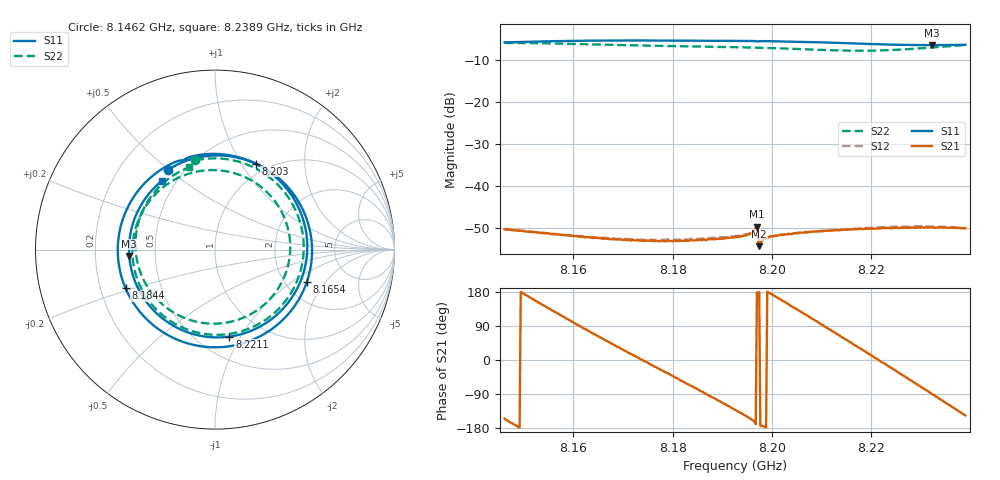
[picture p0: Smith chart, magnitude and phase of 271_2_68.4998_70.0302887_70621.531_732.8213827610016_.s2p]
#  HZ  S  RI  R  50.00
! Rohde & Schwarz Vector Network Analyzer
! Rohde-Schwarz,ZNB20-2Port,1311601062101988,3.16
! Created: UTC 3/20/2024, 5:00:45 PM
! freq[Hz]  re:S11  im:S11  re:S21  im:S21  re:S12  im:S12  re:S22  im:S22
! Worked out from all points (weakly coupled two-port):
!   401 points, 8.1462 GHz to 8.2389 GHz, reference 50 ohm
!   highest |S21| = -49.55 dB at 8.1969 GHz (marker M1); lowest = -54.2 dB at 8.1974 GHz (marker M2)
!   lowest |S11| = -6.4 dB at 8.2322 GHz (marker M3), VSWR 2.84, Z = 17.6 - j1.6 ohm
!   |S11| at or under -10 dB: nowhere
!   |S22| runs from -7.7 to -5.9 dB; largest |S21 - S12| = 0.00025
!   S11 on the Smith chart (normalised r, x): 8.1462 GHz: 0.41, +0.50; 8.1654 GHz: 2.60, -1.33; 8.1844 GHz: 0.31, -0.19; 8.203 GHz: 0.87, +1.16; 8.2211 GHz: 0.70, -0.90; 8.2389 GHz: 0.42, +0.42
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8.146162e9  -0.2616 0.4455  -0.00279 -0.00132  -0.00286 -0.00119  -0.1093 0.4971
8.149872e9  -0.0232 0.5233  -0.00296 0.000217  -0.00292 0.000279  0.1291 0.4907
8.15335e9  0.2073 0.4876  -0.00242 0.00143  -0.00245 0.00147  0.3226 0.3872
8.157523e9  0.429 0.3208  -0.00122 0.00237  -0.00119 0.00235  0.4669 0.1747
8.161697e9  0.5361 0.0654  0.000165 0.00252  0.000176 0.00256  0.4865 -0.0758
8.165407e9  0.5116 -0.1807  0.00122 0.00209  0.00121 0.00211  0.3997 -0.2775
8.171667e9  0.2381 -0.4896  0.00219 0.000612  0.00225 0.000659  0.0978 -0.467
8.177232e9  -0.1328 -0.5278  0.00203 -0.000893  0.00215 -0.000898  -0.2105 -0.4203
8.18442e9  -0.498 -0.2158  0.00067 -0.00219  0.000641 -0.00229  -0.449 -0.1107
8.188362e9  -0.539 0.0531  -0.000445 -0.0023  -0.000561 -0.0024  -0.4458 0.1064
8.192535e9  -0.433 0.3219  -0.00165 -0.00186  -0.00177 -0.00188  -0.3336 0.3069
8.196477e9  -0.2147 0.4907  -0.00288 -0.000856  -0.00299 -0.000758  -0.148 0.4224
8.196941e9  -0.1816 0.4977  -0.00333 0.000103  -0.0034 0.000238  -0.1231 0.4293
8.197404e9  -0.1594 0.5089  -0.00195 2.47e-05  -0.00201 9.73e-05  -0.0975 0.4351
8.202969e9  0.2258 0.4786  -0.00232 0.00136  -0.00228 0.00148  0.2086 0.3823
8.20807e9  0.4709 0.2219  -0.000938 0.00274  -0.000869 0.00274  0.3949 0.1556
8.214099e9  0.4676 -0.1972  0.00155 0.00262  0.00159 0.00262  0.3617 -0.2003
8.221055e9  0.0807 -0.4847  0.00316 0.000202  0.00325 5.03e-05  -0.0124 -0.4127
8.223605e9  -0.1028 -0.4756  0.00304 -0.000987  0.0031 -0.00113  -0.1794 -0.3771
8.228243e9  -0.3785 -0.2961  0.00179 -0.00269  0.00171 -0.00287  -0.4028 -0.1579
8.232185e9  -0.4777 -0.0349  1.63e-05 -0.00326  -0.000178 -0.00331  -0.4357 0.1124
8.238909e9  -0.2938 0.3843  -0.00265 -0.00176  -0.00277 -0.00158  -0.1424 0.4591
